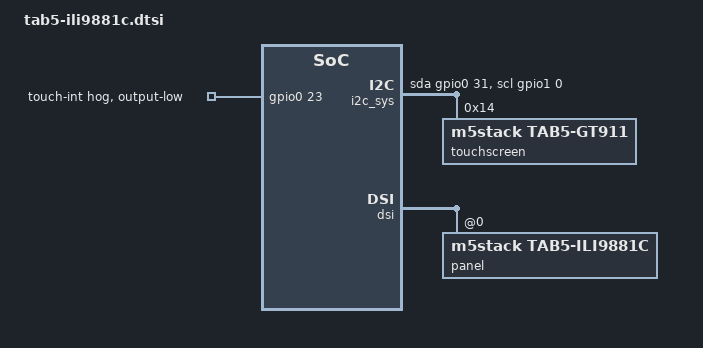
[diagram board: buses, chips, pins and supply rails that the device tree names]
// SPDX-License-Identifier: GPL-2.0-only
/*
 * M5Stack Tab5 with the ILI9881C panel and GT911 touch controller, appended
 * after tab5-overrides.dtsi by build-m1.sh when EASYSTICK_BOARD=tab5 and
 * EASYSTICK_TAB5_PANEL=ili9881c.  Tab5 units ship with either an ST7123
 * panel (with its own touch controller) or this one; the panel is identified
 * by the page-1 ID bytes 98 81 5c and the GT911 answers at I2C 0x14.
 *
 * Panel: kernel patch 0077 (init sequence and timing from M5GFX's
 * Panel_ILI9881C, two lanes).  The boot shim, built with the same variable,
 * releases LCD_RST and TP_RST together (INT high, selecting address 0x14).
 *
 * Touch: kernel patch 0078, polled (the P4 GPIO driver has no interrupt
 * support for pins above 31, and GPIO23 is not wired the same way in every
 * M5Stack reference).  The system I2C bus (SDA GPIO31, SCL GPIO32, 2.2 k
 * pull-ups on the board) is bit-banged like the keyboard bus.
 */

/* Same DSI node; only the panel driver differs from the ST7123 build. */
&dsi {
	panel@0 {
		compatible = "m5stack,tab5-ili9881c";
	};
};

/ {
	i2c_sys: i2c-sys {
		compatible = "i2c-gpio";
		/* GPIO31 is line 31 of bank 0, GPIO32 is line 0 of bank 1. */
		sda-gpios = <&gpio0 31 (GPIO_ACTIVE_HIGH | GPIO_OPEN_DRAIN | GPIO_PULL_UP)>;
		scl-gpios = <&gpio1 0 (GPIO_ACTIVE_HIGH | GPIO_OPEN_DRAIN | GPIO_PULL_UP)>;
		i2c-gpio,delay-us = <5>;	/* about 100 kHz */
		#address-cells = <1>;
		#size-cells = <0>;

		touchscreen@14 {
			compatible = "m5stack,tab5-gt911";
			reg = <0x14>;
		};
	};
};

/*
 * This panel is mounted rotated by 180 degrees relative to the ST7123 units
 * that fbcon=rotate:1 was chosen for, so rotate the console the other way.
 */
/ {
	chosen {
		bootargs = "earlycon=esp32p4usbjtag,mmio32,0x500d2000 console=tty0 console=ttyGS1,115200n8 loglevel=4 root=/dev/mtdblock0 rootfstype=squashfs ro init=/sbin/init maxcpus=1 fbcon=rotate:3 fbcon=font:TER16x32";
	};
};

/*
 * TP_INT (GPIO23) has a pull-up to 3V3 on the GT911 units, which keeps the
 * controller from scanning (NuttX esp32p4-tab5 documentation); the board has
 * to drive it low and read the touch data by polling.  Make it a hog so the
 * GPIO driver owns the line, as it must for the backlight enable above.
 */
&gpio0 {
	touch-int-hog {
		gpio-hog;
		gpios = <23 GPIO_ACTIVE_HIGH>;
		output-low;
		line-name = "touch-int";
	};
};
